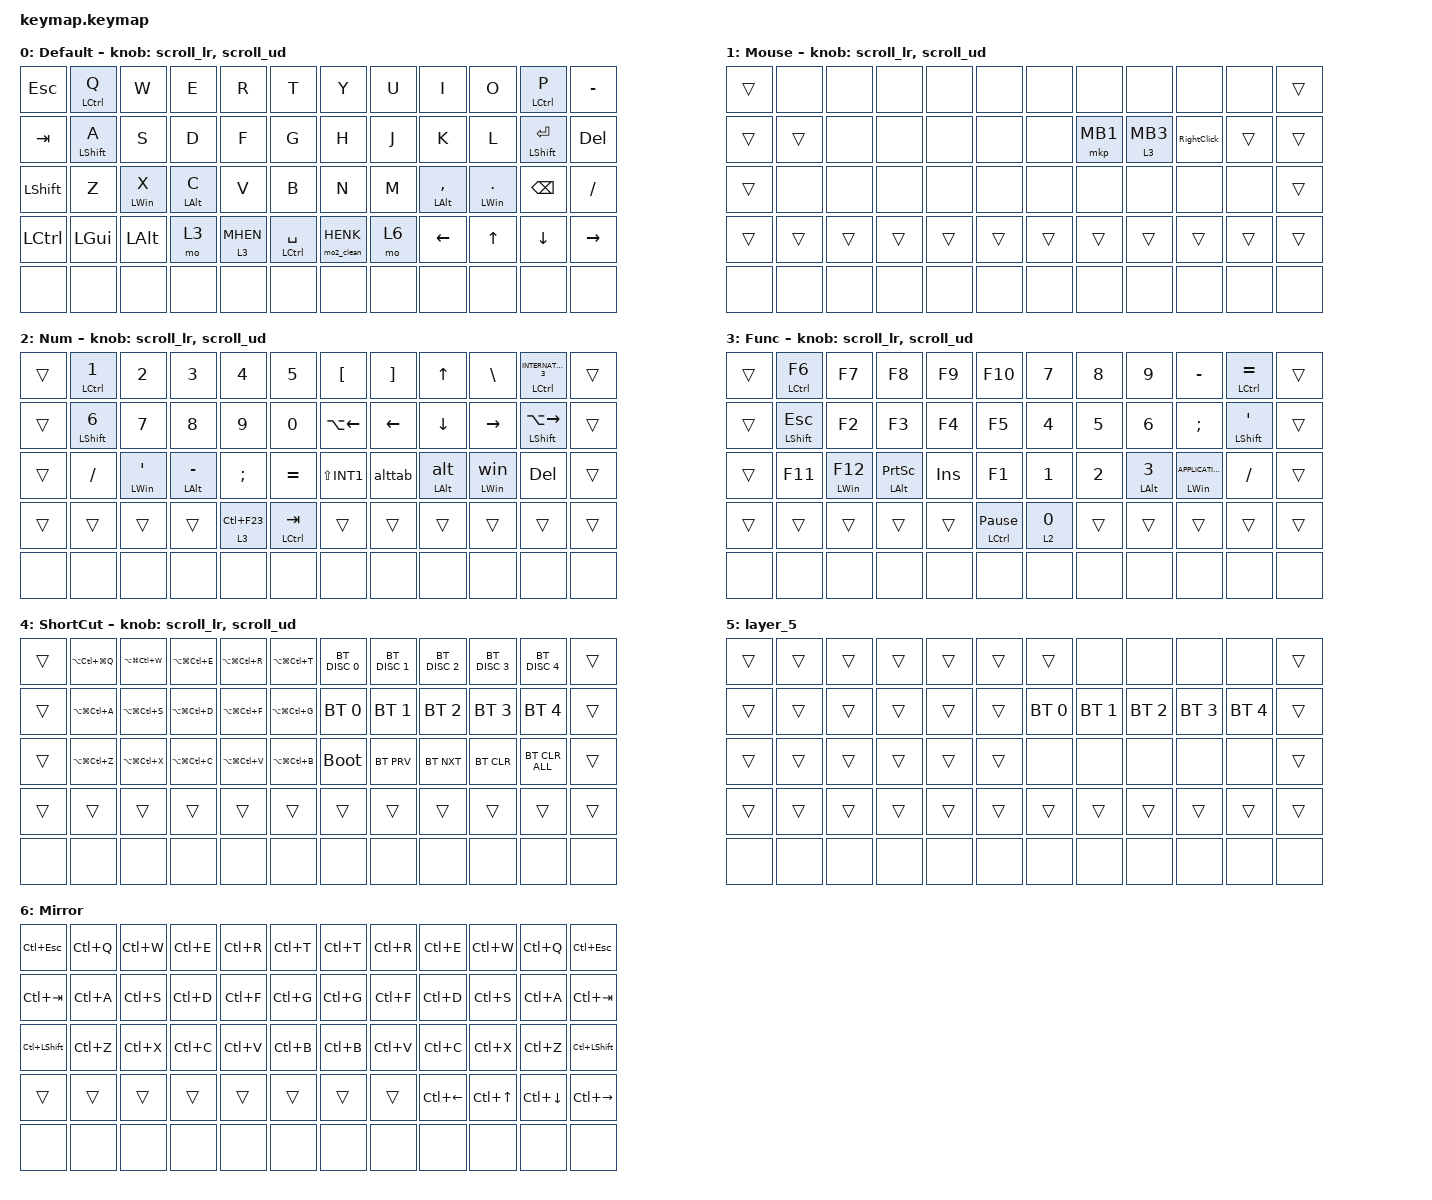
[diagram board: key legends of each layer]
#include <behaviors.dtsi>
#include <dt-bindings/zmk/bt.h>
#include <dt-bindings/zmk/keys.h>
#include <dt-bindings/zmk/pointing.h>
#include "helix_trackball.dtsi"   // トラボの設定（Keymap Editor の対象外）

// Helix rev3 5行版（60キー）。数字の段を無くし全体を1段上へ（11/13）。最下段(48〜59)は &none
//  0  1  2  3  4  5      6  7  8  9 10 11
// 12 13 14 15 16 17     18 19 20 21 22 23
// 24 25 26 27 28 29     30 31 32 33 34 35
// 36 37 38 39 40 41     42 43 44 45 46 47   ← 親指の段
// 48 49 50 51 52 53     54 55 56 57 58 59   ← 未使用（&none）

// mtの初期値はhold-preferred(他のキーを押した瞬間にholdが確定する)で、
// Spaceの直後に文字を打つと意図せずCtrl等が発火しやすいので、hmと同じtap-preferredに統一する

&mt {
    flavor = "tap-preferred";
    quick-tap-ms = <200>;
};

/ {
    combos {
        compatible = "zmk,combos";

        pgup {
            bindings = <&kp PG_UP>;
            key-positions = <8 25 42>;
        };

        pgdn {
            bindings = <&kp PAGE_DOWN>;
            key-positions = <25 42 20>;
        };

        home {
            bindings = <&kp HOME>;
            key-positions = <25 42 19>;
        };

        end {
            bindings = <&kp END>;
            key-positions = <25 42 21>;
        };
    };

    keymap {
        compatible = "zmk,keymap";

        Default {
            bindings = <
  &kp ESC     &hm LCTRL Q                   &kp W       &kp E       &kp R        &kp T              &kp Y        &kp U  &kp I               &kp O         &hm LCTRL P                           &kp MINUS
  &kp TAB     &mt_exit_AML_on_tap LSHIFT A  &kp S       &kp D       &kp F        &kp G              &kp H        &kp J  &kp K               &kp L         &mt_exit_AML_on_tap LEFT_SHIFT ENTER  &kp DEL
  &kp LSHIFT  &kp Z                         &hm LWIN X  &hm LALT C  &kp V        &kp B              &kp N        &kp M  &hm LEFT_ALT COMMA  &hm LWIN DOT  &kp BACKSPACE                         &kp SLASH
  &kp LCTRL   &kp LGUI                      &kp LALT    &mo 3       &moMHEN 3 0  &mt LCTRL SPACE    &moHENK 0 0  &mo 6  &kp LEFT            &kp UP        &kp DOWN                              &kp RIGHT
  &none  &none  &none  &none  &none  &none    &none  &none  &none  &none  &none  &none
            >;

            sensor-bindings = <&scroll_lr &scroll_ud>;
        };

        Mouse {
            bindings = <
  &trans  &none   &none   &none   &none   &none     &none   &none     &none      &none        &none   &trans
  &trans  &trans  &none   &none   &none   &none     &none   &mkp MB1  &lm 3 MB3  &RightClick  &trans  &trans
  &trans  &none   &none   &none   &none   &none     &none   &none     &none      &none        &none   &trans
  &trans  &trans  &trans  &trans  &trans  &trans    &trans  &trans    &trans     &trans       &trans  &trans
  &none  &none  &none  &none  &none  &none    &none  &none  &none  &none  &none  &none
            >;

            sensor-bindings = <&scroll_lr &scroll_ud>;
        };

        Num {
            bindings = <
  &trans  &hm LCTRL NUMBER_1   &kp N2                     &kp N3              &kp N4         &kp N5           &kp LEFT_BRACKET  &kp RIGHT_BRACKET  &kp UP            &kp BACKSLASH  &hm LCTRL INTERNATIONAL_3  &trans
  &trans  &hm LSHIFT NUMBER_6  &kp N7                     &kp N8              &kp N9         &kp N0           &kp LA(LEFT)      &kp LEFT           &kp DOWN          &kp RIGHT      &hm LEFT_SHIFT LA(RIGHT)   &trans
  &trans  &kp SLASH            &hm LEFT_WIN SINGLE_QUOTE  &hm LEFT_ALT MINUS  &kp SEMI       &kp EQUAL        &kp LS(INT1)      &alttab            &Malt LEFT_ALT 0  &Mwin LWIN 0   &kp DELETE                 &trans
  &trans  &trans               &trans                     &trans              &lt 3 LC(F23)  &mt LCTRL TAB    &trans            &trans             &trans            &trans         &trans                     &trans
  &none  &none  &none  &none  &none  &none    &none  &none  &none  &none  &none  &none
            >;

            sensor-bindings = <&scroll_lr &scroll_ud>;
        };

        Func {
            bindings = <
  &trans  &hm LCTRL F6       &kp F7        &kp F8                &kp F9   &kp F10                  &kp N7    &kp N8  &kp N9             &kp MINUS               &hm LCTRL EQUAL          &trans
  &trans  &hm LSHIFT ESCAPE  &kp F2        &kp F3                &kp F4   &kp F5                   &kp N4    &kp N5  &kp N6             &kp SEMI                &hm LSHIFT SINGLE_QUOTE  &trans
  &trans  &kp F11            &mt LWIN F12  &mt LALT PRINTSCREEN  &kp INS  &kp F1                   &kp N1    &kp N2  &hm LALT NUMBER_3  &hm LWIN K_APPLICATION  &kp FSLH                 &trans
  &trans  &trans             &trans        &trans                &trans   &hm LCTRL PAUSE_BREAK    &lt 2 N0  &trans  &trans             &trans                  &trans                   &trans
  &none  &none  &none  &none  &none  &none    &none  &none  &none  &none  &none  &none
            >;

            sensor-bindings = <&scroll_lr &scroll_ud>;
        };

        ShortCut {
            bindings = <
  &trans  &kp LA(LC(LG(Q)))  &kp LA(LG(LC(W)))  &kp LA(LG(LC(E)))  &kp LA(LG(LC(R)))  &kp LA(LG(LC(T)))    &bt BT_DISC 0  &bt BT_DISC 1  &bt BT_DISC 2  &bt BT_DISC 3  &bt BT_DISC 4   &trans
  &trans  &kp LA(LG(LC(A)))  &kp LA(LG(LC(S)))  &kp LA(LG(LC(D)))  &kp LA(LG(LC(F)))  &kp LA(LG(LC(G)))    &bt BT_SEL 0   &bt BT_SEL 1   &bt BT_SEL 2   &bt BT_SEL 3   &bt BT_SEL 4    &trans
  &trans  &kp LA(LG(LC(Z)))  &kp LA(LG(LC(X)))  &kp LA(LG(LC(C)))  &kp LA(LG(LC(V)))  &kp LA(LG(LC(B)))    &bootloader    &bt BT_PRV     &bt BT_NXT     &bt BT_CLR     &bt BT_CLR_ALL  &trans
  &trans  &trans             &trans             &trans             &trans             &trans               &trans         &trans         &trans         &trans         &trans          &trans
  &none  &none  &none  &none  &none  &none    &none  &none  &none  &none  &none  &none
            >;

            sensor-bindings = <&scroll_lr &scroll_ud>;
        };

        layer_5 {
            bindings = <
  &trans  &trans  &trans  &trans  &trans  &trans    &trans        &none         &none         &none         &none         &trans
  &trans  &trans  &trans  &trans  &trans  &trans    &bt BT_SEL 0  &bt BT_SEL 1  &bt BT_SEL 2  &bt BT_SEL 3  &bt BT_SEL 4  &trans
  &trans  &trans  &trans  &trans  &trans  &trans    &none         &none         &none         &none         &none         &trans
  &trans  &trans  &trans  &trans  &trans  &trans    &trans        &trans        &trans        &trans        &trans        &trans
  &none  &none  &none  &none  &none  &none    &none  &none  &none  &none  &none  &none
            >;
        };

        Mirror {
            // Mの下を押している間: 右手は鏡の位置の左手のキー＋Ctrl（M→Ctrl+V）、左手はそのままCtrl＋キー
            bindings = <
  &kp LC(ESC)     &kp LC(Q)  &kp LC(W)  &kp LC(E)  &kp LC(R)  &kp LC(T)    &kp LC(T)  &kp LC(R)  &kp LC(E)     &kp LC(W)   &kp LC(Q)     &kp LC(ESC)
  &kp LC(TAB)     &kp LC(A)  &kp LC(S)  &kp LC(D)  &kp LC(F)  &kp LC(G)    &kp LC(G)  &kp LC(F)  &kp LC(D)     &kp LC(S)   &kp LC(A)     &kp LC(TAB)
  &kp LC(LSHIFT)  &kp LC(Z)  &kp LC(X)  &kp LC(C)  &kp LC(V)  &kp LC(B)    &kp LC(B)  &kp LC(V)  &kp LC(C)     &kp LC(X)   &kp LC(Z)     &kp LC(LSHIFT)
  &trans          &trans     &trans     &trans     &trans     &trans       &trans     &trans     &kp LC(LEFT)  &kp LC(UP)  &kp LC(DOWN)  &kp LC(RIGHT)
  &none  &none  &none  &none  &none  &none    &none  &none  &none  &none  &none  &none
            >;
        };
    };

    conditional_layers {
        compatible = "zmk,conditional-layers";

        FunctionWin {
            if-layers = <2 3>;
            then-layer = <4>;
        };
    };

    macros {
        kp_exitAML: kp_exit_AML {
            compatible = "zmk,behavior-macro-one-param";
            wait-ms = <0>;
            tap-ms = <0>;
            #binding-cells = <1>;
            bindings = <&macro_param_1to1 &kp MACRO_PLACEHOLDER &to 0>;
            label = "KP_exit_AML";
        };

        mo2_clean: a_hold_mo1_cleanup {
            compatible = "zmk,behavior-macro";
            #binding-cells = <0>;
            bindings =
                <&macro_press>,
                <&mo 2>,
                <&macro_pause_for_release>,
                <&macro_release>,
                <&kp LWIN &kp LALT>,
                <&macro_tap>,
                <&to 0>,
                <&macro_press>;

            label = "A_HOLD_MO1_CLEANUP";
        };

        alttab: b_to2_alt_tab {
            compatible = "zmk,behavior-macro";
            #binding-cells = <0>;
            bindings =
                <&macro_release>,
                <&kp LWIN>,
                <&macro_press>,
                <&kp LALT>,
                <&macro_tap>,
                <&kp TAB>;

            label = "B_TO2_ALT_TAB";
        };

        win: c_alt_plessed {
            compatible = "zmk,behavior-macro";
            #binding-cells = <0>;
            bindings = <&macro_release>, <&kp LALT>, <&macro_press>, <&kp LWIN>;

            label = "C_ALT_PLESSED";
        };

        alt: alt {
            compatible = "zmk,behavior-macro";
            #binding-cells = <0>;
            bindings = <&macro_release>, <&kp LWIN>, <&macro_press>, <&kp LALT>;

            label = "ALT";
        };

        mo2_clean_m: mo2_clean_m {
            compatible = "zmk,behavior-macro";
            #binding-cells = <0>;
            bindings =
                <&macro_press>,
                <&mo 2>,
                <&macro_pause_for_release>,
                <&macro_release>,
                <&kp LWIN &kp LALT>,
                <&macro_tap>,
                <&to 0>,
                <&macro_press>;

            label = "MO2_CLEAN_M";
        };

        HENK: HENK {
            compatible = "zmk,behavior-macro";
            #binding-cells = <0>;
            bindings = <&kp LANGUAGE_1 &kp INTERNATIONAL_4>;
            label = "HENK";
        };

        MHEN: MHEN {
            compatible = "zmk,behavior-macro";
            #binding-cells = <0>;
            bindings = <&kp LANGUAGE_2 &kp INT_MUHENKAN>;
            label = "MHEN";
        };
    };

    behaviors {
        scroll_ud: scroll_up_down {
            compatible = "zmk,behavior-sensor-rotate";
            #sensor-binding-cells = <0>;
            bindings = <&msc SCRL_UP>, <&msc SCRL_DOWN>;
            tap-ms = <30>;
        };

        scroll_lr: scroll_left_right {
            compatible = "zmk,behavior-sensor-rotate";
            #sensor-binding-cells = <0>;
            bindings = <&msc SCRL_RIGHT>, <&msc SCRL_LEFT>;
            tap-ms = <30>;
        };
        lm: lt_with_mouse {
            compatible = "zmk,behavior-hold-tap";
            label = "LAYER_TAP_MOUSE";
            bindings = <&mo>, <&MiddleClick>;

            #binding-cells = <2>;
            tapping-term-ms = <200>;
        };

        tog_off: toggle_layer_off_only {
            compatible = "zmk,behavior-toggle-layer";
            #binding-cells = <1>;
            display-name = "Toggle Layer Off";
            toggle-mode = "off";
        };

        mt_exit_AML_on_tap: mt_exit_AML_on_tap {
            compatible = "zmk,behavior-hold-tap";
            label = "MT_exit_AML_ON_TAP";
            bindings = <&kp>, <&kp_exitAML>;

            #binding-cells = <2>;
            tapping-term-ms = <200>;
            flavor = "tap-preferred";
            quick-tap-ms = <200>;
            require-prior-idle-ms = <50>;
        };

        lt_clean: lt_clean {
            compatible = "zmk,behavior-hold-tap";
            label = "LT_CLEAN";
            bindings = <&mo2_clean>, <&kp>;

            #binding-cells = <2>;
            tapping-term-ms = <200>;
            flavor = "tap-preferred";
        };

        RightClick: RightClick {
            compatible = "zmk,behavior-mod-morph";
            label = "RIGHTCLICK";
            bindings = <&mkp MB2>, <&none>;

            #binding-cells = <0>;
            mods = <(MOD_LCTL|MOD_LSFT)>;
            keep-mods = <(MOD_LCTL|MOD_LSFT)>;
        };

        MiddleClick: MiddleClick {
            compatible = "zmk,behavior-mod-morph";
            label = "MIDDLECLICK";
            bindings = <&mkp MB3>, <&kp K>;

            #binding-cells = <0>;
            mods = <(MOD_LSFT|MOD_LCTL)>;
            keep-mods = <(MOD_LCTL|MOD_LSFT)>;
        };

        hm: homerow_mod {
            compatible = "zmk,behavior-hold-tap";
            label = "HM";
            bindings = <&kp>, <&kp>;

            #binding-cells = <2>;
            tapping-term-ms = <280>; // Ctrl+Cのようにmodと組み合わせて使う時、素早く離さないとC自身のhold(LALT)が確定してしまうため余裕を持たせる
            quick-tap-ms = <200>;
            flavor = "tap-preferred";
            require-prior-idle-ms = <100>;
            retro-tap;
        };

        Mwin: Mwin {
            compatible = "zmk,behavior-hold-tap";
            label = "MWIN";
            bindings = <&kp>, <&win>;

            #binding-cells = <2>;
            tapping-term-ms = <200>;
        };

        Malt: Malt {
            compatible = "zmk,behavior-hold-tap";
            label = "MALT";
            bindings = <&kp>, <&alt>;

            #binding-cells = <2>;
            tapping-term-ms = <200>;
        };

        moMHEN: moMHEN {
            compatible = "zmk,behavior-hold-tap";
            label = "MOMHEN";
            #binding-cells = <2>;
            bindings = <&mo>, <&MHEN>;

            tapping-term-ms = <200>;
        };

        moHENK: moHENK {
            compatible = "zmk,behavior-hold-tap";
            label = "MOHENK";
            bindings = <&mo2_clean>, <&HENK>;

            #binding-cells = <2>;
            tapping-term-ms = <200>;
            flavor = "tap-preferred";
        };
    };
};
